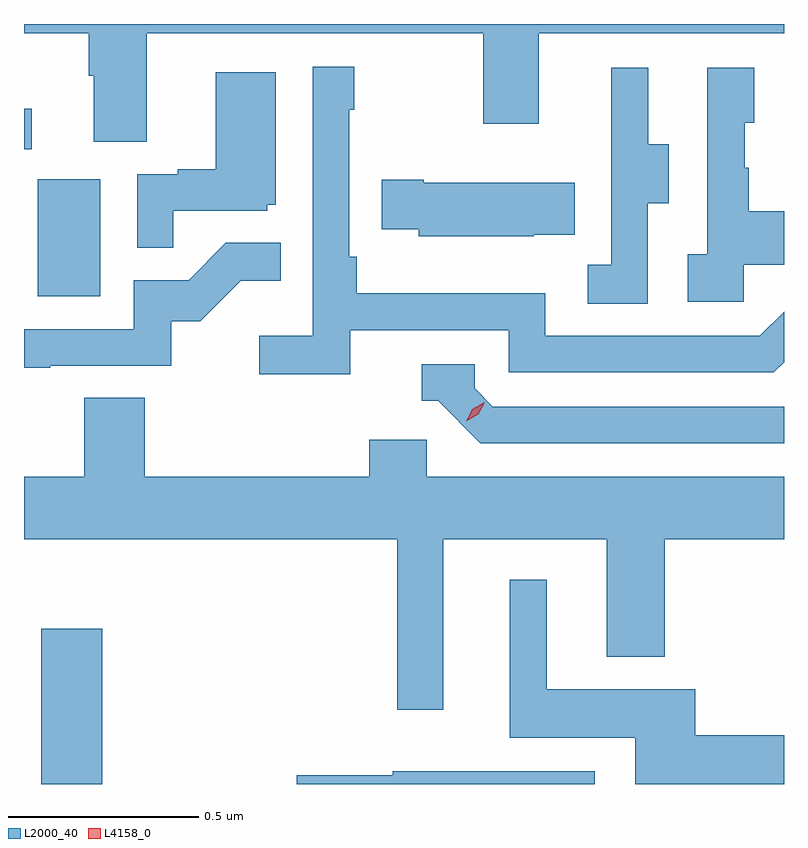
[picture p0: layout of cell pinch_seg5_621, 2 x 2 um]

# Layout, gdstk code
import gdstk
lib = gdstk.Library(unit=1e-6, precision=1e-09)
def R(c, l, rs):  # rectangles x0, y0, x1, y1
    for r in rs: c.add(gdstk.rectangle(r[:2], r[2:], *l))
def P(c, l, *ps):  # polygons
    for p in ps: c.add(gdstk.Polygon(p, *l))
L2000_40 = (2000, 40)
L4158_0 = (4158, 0)

pinch_seg5_621 = lib.new_cell('pinch_seg5_621')
R(pinch_seg5_621, L2000_40, [(1028.687,865.44,1028.848,865.849), (1028.678,866.724,1028.842,867.031), (1028.642,867.111,1028.662,867.217)])
P(pinch_seg5_621, L2000_40, [(1028.965,867.416),(1029.85,867.416),(1029.85,867.177),(1029.997,867.177),(1029.997,867.416),(1030.642,867.416),(1030.642,867.44),(1028.642,867.44),(1028.642,867.416),(1028.813,867.416),(1028.813,867.304),(1028.825,867.304),(1028.825,867.13),(1028.965,867.13)],
  [(1029.5,866.634),(1029.918,866.634),(1029.918,866.523),(1030.615,866.523),(1030.642,866.55),(1030.642,866.683),(1030.578,866.619),(1030.014,866.619),(1030.014,866.731),(1029.518,866.731),(1029.518,866.827),(1029.498,866.827),(1029.498,867.215),(1029.511,867.215),(1029.511,867.328),(1029.402,867.328),(1029.402,866.62),(1029.261,866.62),(1029.261,866.518),(1029.5,866.518)],
  [(1030.284,866.968),(1030.339,866.968),(1030.339,867.123),(1030.285,867.123),(1030.285,867.325),(1030.187,867.325),(1030.187,867.111),(1030.188,867.111),(1030.188,866.807),(1030.125,866.807),(1030.125,866.704),(1030.284,866.704)],
  [(1030.536,866.807),(1030.642,866.807),(1030.642,866.947),(1030.549,866.947),(1030.549,867.062),(1030.539,867.062),(1030.539,867.18),(1030.564,867.18),(1030.564,867.325),(1030.44,867.325),(1030.44,866.834),(1030.389,866.834),(1030.389,866.709),(1030.536,866.709)],
  [(1029.035,866.949),(1029.282,866.949),(1029.282,866.964),(1029.304,866.964),(1029.304,867.313),(1029.146,867.313),(1029.146,867.058),(1029.047,867.058),(1029.047,867.045),(1028.94,867.045),(1028.94,866.851),(1029.035,866.851)],
  [(1029.983,866.885),(1030.091,866.885),(1030.091,867.022),(1029.694,867.022),(1029.694,867.03),(1029.583,867.03),(1029.583,866.9),(1029.681,866.9),(1029.681,866.882),(1029.983,866.882)],
  [(1028.711,866.541),(1029.03,866.541),(1029.03,866.658),(1029.106,866.658),(1029.213,866.765),(1029.317,866.765),(1029.317,866.864),(1029.173,866.864),(1029.075,866.766),(1028.931,866.766),(1028.931,866.637),(1028.642,866.637),(1028.642,866.536),(1028.711,866.536)],
  [(1030.642,866.433),(1029.876,866.433),(1029.828,866.481),(1029.828,866.544),(1029.689,866.544),(1029.689,866.448),(1029.732,866.448),(1029.843,866.337),(1030.642,866.337)],
  [(1029.745,866.084),(1030.175,866.084),(1030.175,865.775),(1030.328,865.775),(1030.328,866.084),(1030.642,866.084),(1030.642,866.248),(1029.702,866.248),(1029.702,866.346),(1029.551,866.346),(1029.551,866.248),(1028.96,866.248),(1028.96,866.456),(1028.8,866.456),(1028.8,866.248),(1028.642,866.248),(1028.642,866.084),(1029.624,866.084),(1029.624,865.635),(1029.745,865.635)],
  [(1030.642,865.568),(1030.409,865.568),(1030.409,865.69),(1030.018,865.69),(1030.018,865.978),(1029.92,865.978),(1029.92,865.562),(1030.25,865.562),(1030.25,865.44),(1030.642,865.44)],
  [(1030.144,865.473),(1029.831,865.473),(1029.831,865.474),(1029.612,865.474),(1029.612,865.463),(1029.36,865.463),(1029.36,865.44),(1030.144,865.44)])
P(pinch_seg5_621, L4158_0, [(1029.806,866.394),(1029.806,866.394),(1029.822,866.426),(1029.854,866.445),(1029.854,866.445),(1029.854,866.445),(1029.837,866.413),(1029.806,866.394)])

lib.write_gds('pinch_seg5_621.gds')
